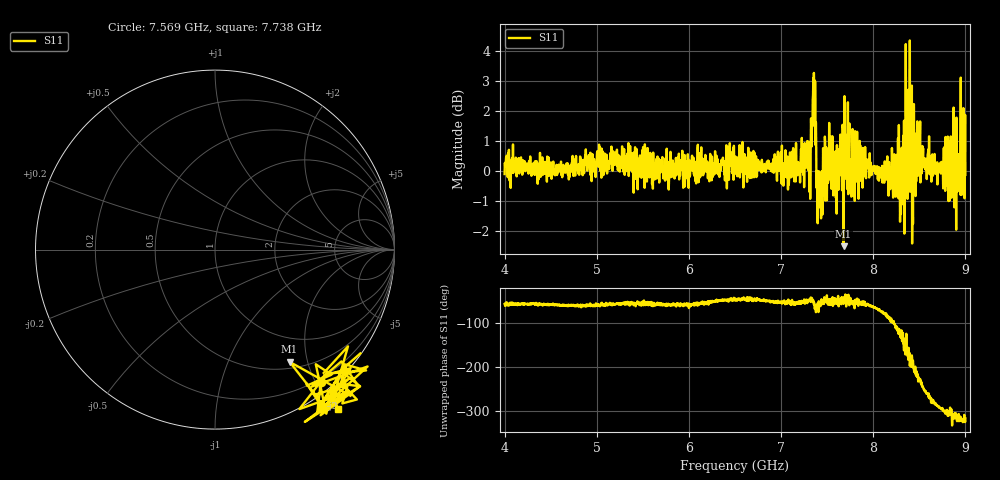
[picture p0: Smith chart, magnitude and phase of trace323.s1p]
! Created with skrf 1.8.0 (http://scikit-rf.org).
# Hz S RI R 50.0
!freq ReS11 ImS11
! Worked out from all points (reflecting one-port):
!   1601 points, 4 GHz to 9 GHz, reference 50 ohm
!   lowest |S11| = -2.5 dB at 7.678 GHz (marker M1), VSWR 7.02, Z = 29.8 - j85.3 ohm
!   phase of S11 starts at -57 deg and turns -259 deg over the sweep
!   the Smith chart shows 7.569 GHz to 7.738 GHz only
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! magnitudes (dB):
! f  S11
! 4 GHz  -0.1
! 4.625 GHz  -0.2
! 5.25 GHz  0.0
! 5.875 GHz  0.2
! 6.5 GHz  0.4
! 7.125 GHz  0.7
! 7.294 GHz  0.0
! 7.316 GHz  -0.9
! 7.35 GHz  3.1
! 7.369 GHz  3.0
! 7.409 GHz  0.0
! 7.538 GHz  1.1
! 7.591 GHz  0.7
! 7.65 GHz  0.9
! 7.678 GHz  -2.5
! 7.75 GHz  -0.5
! 7.828 GHz  0.2
! 8.191 GHz  -0.2
! 8.262 GHz  -0.7
! 8.312 GHz  -0.2
! 8.334 GHz  1.7
! 8.375 GHz  0.7
! 8.447 GHz  1.3
! 8.459 GHz  -0.8
! 8.841 GHz  1.2
! 8.919 GHz  -0.1
! 8.956 GHz  0.1
! 9 GHz  -0.1
